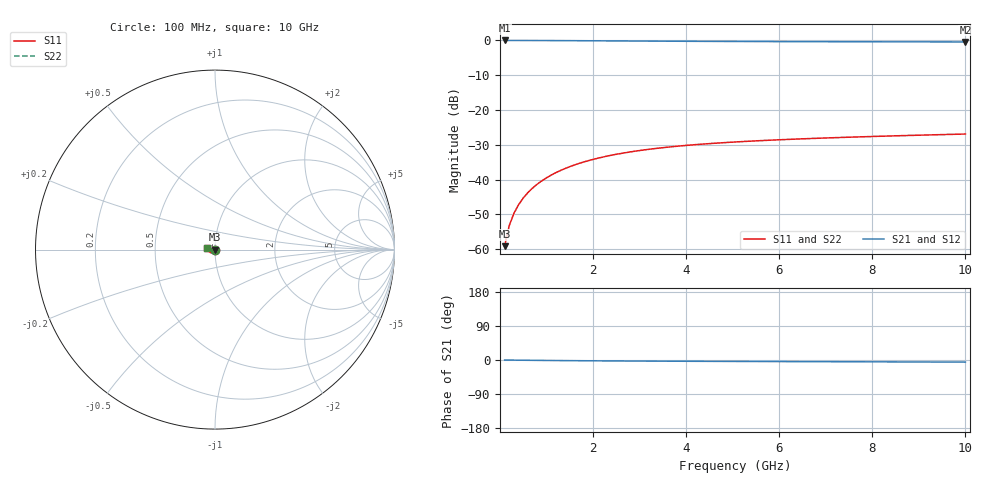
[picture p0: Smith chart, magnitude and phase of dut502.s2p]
! Touchstone file exported from HFSS 2024.1.0
!  File:  C:/UserFiles/LocalFiles/RDL_TSV_Batchsim/temp_TSV1_502_1779701525.aedt
!  Generated:  05:40:51 PM May 25, 2026
!  Design:  TSV1
!  Project:  temp_TSV1_502_1779701525
!  Setup:  Setup1
!  Solution:  Sweep
! Variables:
!  dtsv = 8.51um
!  hbump = 3um
!  htsv = 86.93um
!  lrdl = 252.1521522um
!  p = 40
!  p1 = 48.69um
!  t = 500um
!  trdl = 3um
!  wrdl = 24.89489489um
# GHz S MA R 50.000000
! Terminal data exported
! Port[1] = TSV22_T1
! Port[2] = TSV22_T2
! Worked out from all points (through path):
!   100 points, 100 MHz to 10 GHz, reference 50 ohm
!   highest |S21| = 0.00 dB at 100 MHz (marker M1); lowest = -0.4 dB at 10 GHz (marker M2)
!   lowest |S11| = -59.1 dB at 100 MHz (marker M3), VSWR 1.00, Z = 50 - j0.109 ohm
!   |S11| at or under -10 dB: start of sweep to end of sweep
!   |S22| runs from -59.1 to -26.9 dB; largest |S21 - S12| = 5.2e-15
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0.1  0.001105 -80.8  0.9997 -0.1  0.9997 -0.1  0.001105 -80.8
! Gamma 0 0 0 0
! Port Impedance 50 0 50 0
0.2  0.002185 -87.9  0.9996 -0.2  0.9996 -0.2  0.002185 -87.9
0.3  0.003272 -91.5  0.9994 -0.4  0.9994 -0.4  0.003272 -91.5
0.4  0.004356 -94.3  0.9992 -0.5  0.9992 -0.5  0.004356 -94.3
0.5  0.005431 -96.7  0.9989 -0.6  0.9989 -0.6  0.005431 -96.7
0.6  0.006496 -98.9  0.9985 -0.7  0.9985 -0.7  0.006496 -98.9
0.7  0.007549 -100.9  0.998 -0.8  0.998 -0.8  0.007549 -100.9
0.8  0.008587 -102.9  0.9975 -1.0  0.9975 -1.0  0.008587 -102.9
0.9  0.00961 -104.9  0.997 -1.1  0.997 -1.1  0.00961 -104.9
1.1  0.0116 -108.6  0.9958 -1.3  0.9958 -1.3  0.0116 -108.6
1.4  0.01444 -113.9  0.9936 -1.6  0.9936 -1.6  0.01444 -113.9
1.6  0.01622 -117.2  0.992 -1.8  0.992 -1.8  0.01622 -117.2
1.8  0.01791 -120.4  0.9904 -2.0  0.9904 -2.0  0.01791 -120.4
2.1  0.02028 -125.1  0.9878 -2.2  0.9878 -2.2  0.02028 -125.1
2.5  0.02311 -130.8  0.9843 -2.5  0.9843 -2.5  0.02311 -130.8
2.9  0.0256 -136.1  0.981 -2.8  0.981 -2.8  0.0256 -136.1
3.4  0.02828 -142.2  0.977 -3.0  0.977 -3.0  0.02828 -142.2
4.2  0.03179 -150.8  0.9715 -3.4  0.9715 -3.4  0.03179 -150.8
5.1  0.03487 -159.0  0.9665 -3.8  0.9665 -3.8  0.03487 -159.0
6.7  0.039 -171.1  0.96 -4.4  0.96 -4.4  0.039 -171.1
8.4  0.0424 178.6  0.9555 -5.0  0.9555 -5.0  0.0424 178.6
10  0.04519 170.4  0.9525 -5.6  0.9525 -5.6  0.04519 170.4
